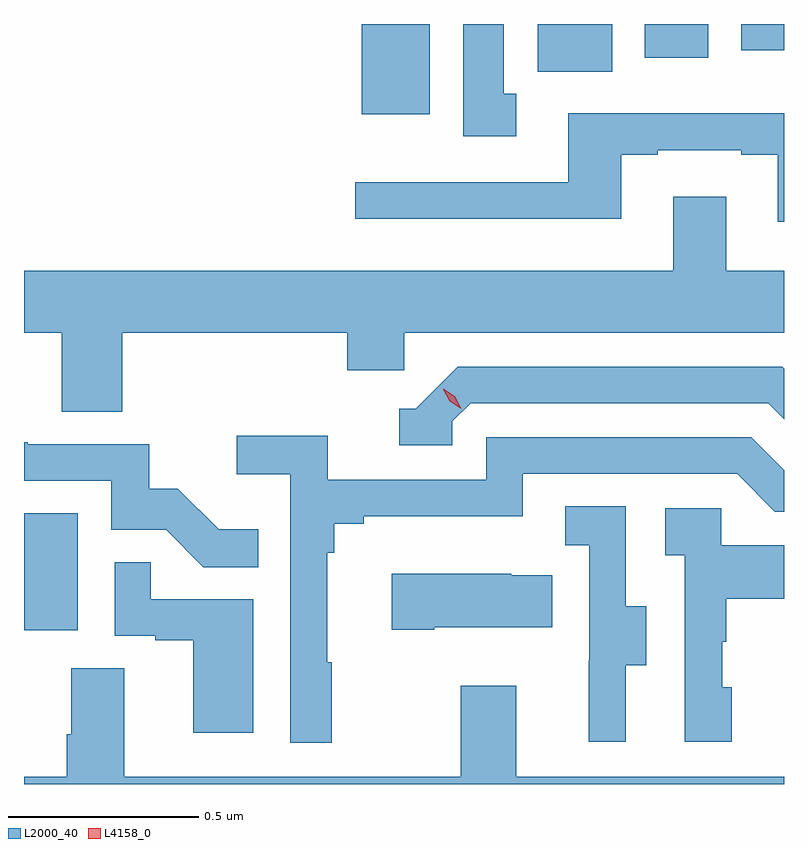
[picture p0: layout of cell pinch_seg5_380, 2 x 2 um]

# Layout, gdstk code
import gdstk
lib = gdstk.Library(unit=1e-6, precision=1e-09)
def R(c, l, rs):  # rectangles x0, y0, x1, y1
    for r in rs: c.add(gdstk.rectangle(r[:2], r[2:], *l))
def P(c, l, *ps):  # polygons
    for p in ps: c.add(gdstk.Polygon(p, *l))
L2000_40 = (2000, 40)
L4158_0 = (4158, 0)

pinch_seg5_380 = lib.new_cell('pinch_seg5_380')
R(pinch_seg5_380, L2000_40, [(1000.507,883.95,1000.648,884.257), (1001.396,885.308,1001.575,885.545), (1001.859,885.42,1002.055,885.545), (1002.14,885.456,1002.307,885.545), (1002.395,885.476,1002.507,885.545)])
P(pinch_seg5_380, L2000_40, [(1001.803,885.361),(1001.77,885.361),(1001.77,885.545),(1001.663,885.545),(1001.663,885.249),(1001.803,885.249)],
  [(1002.507,885.31),(1001.939,885.31),(1001.939,885.129),(1001.379,885.129),(1001.379,885.032),(1002.079,885.032),(1002.079,885.201),(1002.175,885.201),(1002.175,885.213),(1002.395,885.213),(1002.395,885.201),(1002.491,885.201),(1002.491,885.024),(1002.507,885.024)],
  [(1000.766,884.732),(1001.357,884.732),(1001.357,884.634),(1001.508,884.634),(1001.508,884.732),(1002.507,884.732),(1002.507,884.896),(1002.355,884.896),(1002.355,885.091),(1002.215,885.091),(1002.215,884.896),(1000.507,884.896),(1000.507,884.732),(1000.606,884.732),(1000.606,884.524),(1000.766,884.524)],
  [(1001.634,884.499),(1001.682,884.547),(1002.465,884.547),(1002.507,884.505),(1002.507,884.638),(1002.502,884.643),(1001.649,884.643),(1001.538,884.532),(1001.495,884.532),(1001.495,884.436),(1001.634,884.436)],
  [(1001.317,883.865),(1001.305,883.865),(1001.305,884.153),(1001.324,884.153),(1001.324,884.23),(1001.401,884.23),(1001.401,884.249),(1001.82,884.249),(1001.82,884.361),(1002.384,884.361),(1002.483,884.262),(1002.507,884.262),(1002.507,884.371),(1002.421,884.457),(1001.724,884.457),(1001.724,884.346),(1001.306,884.346),(1001.306,884.462),(1001.067,884.462),(1001.067,884.36),(1001.208,884.36),(1001.208,883.653),(1001.317,883.653)],
  [(1001.123,884.215),(1001.019,884.215),(1000.912,884.322),(1000.836,884.322),(1000.836,884.439),(1000.517,884.439),(1000.517,884.444),(1000.507,884.444),(1000.507,884.343),(1000.737,884.343),(1000.737,884.214),(1000.881,884.214),(1000.979,884.116),(1001.123,884.116)],
  [(1002.091,883.858),(1002.145,883.858),(1002.145,884.013),(1002.09,884.013),(1002.09,884.276),(1001.931,884.276),(1001.931,884.173),(1001.994,884.173),(1001.994,883.869),(1001.993,883.869),(1001.993,883.656),(1002.091,883.656)],
  [(1002.37,883.8),(1002.345,883.8),(1002.345,883.919),(1002.355,883.919),(1002.355,884.033),(1002.507,884.033),(1002.507,884.173),(1002.342,884.173),(1002.342,884.271),(1002.195,884.271),(1002.195,884.147),(1002.246,884.147),(1002.246,883.656),(1002.37,883.656)],
  [(1001.11,884.031),(1000.841,884.031),(1000.841,884.129),(1000.746,884.129),(1000.746,883.935),(1000.853,883.935),(1000.853,883.923),(1000.952,883.923),(1000.952,883.68),(1001.11,883.68)],
  [(1001.587,883.958),(1001.897,883.958),(1001.897,884.095),(1001.789,884.095),(1001.789,884.098),(1001.475,884.098),(1001.475,883.951),(1001.587,883.951)],
  [(1002.507,883.564),(1001.803,883.564),(1001.803,883.804),(1001.656,883.804),(1001.656,883.564),(1000.771,883.564),(1000.771,883.85),(1000.631,883.85),(1000.631,883.676),(1000.619,883.676),(1000.619,883.564),(1000.507,883.564),(1000.507,883.545),(1002.507,883.545)])
P(pinch_seg5_380, L4158_0, [(1001.658,884.532),(1001.627,884.552),(1001.61,884.584),(1001.61,884.585),(1001.61,884.585),(1001.641,884.565),(1001.658,884.533),(1001.658,884.532)])

lib.write_gds('pinch_seg5_380.gds')
